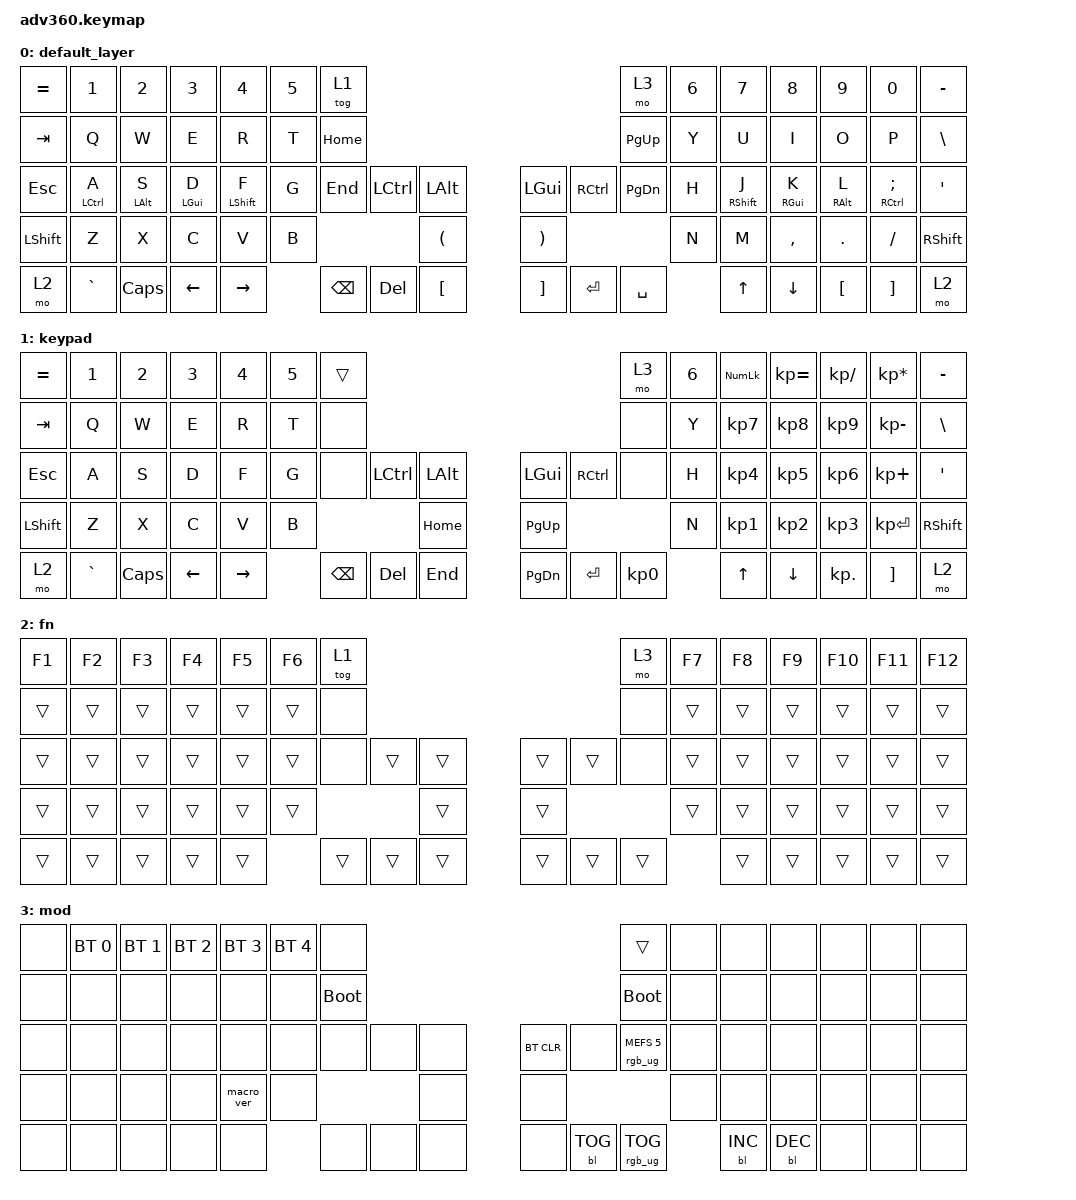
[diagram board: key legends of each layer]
#include <behaviors.dtsi>
#include <dt-bindings/zmk/backlight.h>
#include <dt-bindings/zmk/bt.h>
#include <dt-bindings/zmk/keys.h>
#include <dt-bindings/zmk/rgb.h>

/ {
    behaviors {
        #include "macros.dtsi"
      #include "version.dtsi"
      #ifndef VERSION_MACRO

        macro_ver: macro_ver {
            compatible = "zmk,behavior-macro";
            label = "macro_version";
            #binding-cells = <0>;
            bindings = <&kp RET>;
        };

        #endif

        hm: homerow_mods {
            compatible = "zmk,behavior-hold-tap";
            label = "HOMEROW_MODS";
            #binding-cells = <2>;
            tapping-term-ms = <220>;
            quick_tap_ms = <100>;
            flavor = "tap-preferred";
            require-prior-idle-ms = <125>;
            bindings = <&kp>, <&kp>;
        };

        hml: hml {
            compatible = "zmk,behavior-hold-tap";
            label = "HML";
            bindings = <&kp>, <&kp>;

            #binding-cells = <2>;
            hold-trigger-key-positions = <29 30 31 32>;
            tapping-term-ms = <250>;
            quick-tap-ms = <150>;
            require-prior-idle-ms = <150>;
            flavor = "tap-preferred";
            hold-trigger-on-release;
        };

        hmr: hmr {
            compatible = "zmk,behavior-hold-tap";
            label = "HMR";
            bindings = <&kp>, <&kp>;

            #binding-cells = <2>;
            tapping-term-ms = <250>;
            quick-tap-ms = <150>;
            require-prior-idle-ms = <150>;
            flavor = "tap-preferred";
            hold-trigger-on-release;
            hold-trigger-key-positions = <44 43 41 42>;
        };
    };

    macros {
    };

    keymap {
        compatible = "zmk,keymap";

        default_layer {
            bindings = <
&kp EQUAL  &kp N1       &kp N2      &kp N3      &kp N4       &kp N5  &tog 1                                                                           &mo 3          &kp N6  &kp N7       &kp N8      &kp N9      &kp N0          &kp MINUS
&kp TAB    &kp Q        &kp W       &kp E       &kp R        &kp T   &kp HOME                                                                         &kp PAGE_UP    &kp Y   &kp U        &kp I       &kp O       &kp P           &kp BSLH
&kp ESC    &hm LCTRL A  &hm LALT S  &hm LGUI D  &hm LSHFT F  &kp G   &kp END   &kp LCTRL  &kp LALT                  &kp LGUI               &kp RCTRL  &kp PAGE_DOWN  &kp H   &hm RSHFT J  &hm RGUI K  &hm RALT L  &hm RCTRL SEMI  &kp SQT
&kp LSHFT  &kp Z        &kp X       &kp C       &kp V        &kp B                        &kp LEFT_PARENTHESIS      &kp RIGHT_PARENTHESIS                            &kp N   &kp M        &kp COMMA   &kp DOT     &kp FSLH        &kp RSHFT
&mo 2      &kp GRAVE    &kp CAPS    &kp LEFT    &kp RIGHT            &kp BSPC  &kp DEL    &kp LEFT_BRACKET          &kp RIGHT_BRACKET      &kp ENTER  &kp SPACE              &kp UP       &kp DOWN    &kp LBKT    &kp RBKT        &mo 2
            >;
        };

        keypad {
            bindings = <
&kp EQUAL  &kp N1     &kp N2    &kp N3    &kp N4     &kp N5  &trans                                                   &mo 3      &kp N6  &kp KP_NUM  &kp KP_EQUAL  &kp KP_DIVIDE  &kp KP_MULTIPLY  &kp MINUS
&kp TAB    &kp Q      &kp W     &kp E     &kp R      &kp T   &none                                                    &none      &kp Y   &kp KP_N7   &kp KP_N8     &kp KP_N9      &kp KP_MINUS     &kp BSLH
&kp ESC    &kp A      &kp S     &kp D     &kp F      &kp G   &none     &kp LCTRL  &kp LALT      &kp LGUI   &kp RCTRL  &none      &kp H   &kp KP_N4   &kp KP_N5     &kp KP_N6      &kp KP_PLUS      &kp SQT
&kp LSHFT  &kp Z      &kp X     &kp C     &kp V      &kp B                        &kp HOME      &kp PG_UP                        &kp N   &kp KP_N1   &kp KP_N2     &kp KP_N3      &kp KP_ENTER     &kp RSHFT
&mo 2      &kp GRAVE  &kp CAPS  &kp LEFT  &kp RIGHT          &kp BSPC  &kp DEL    &kp END       &kp PG_DN  &kp ENTER  &kp KP_N0          &kp UP      &kp DOWN      &kp KP_DOT     &kp RBKT         &mo 2
            >;
        };

        fn {
            bindings = <
&kp F1  &kp F2  &kp F3  &kp F4  &kp F5  &kp F6  &tog 1                                      &mo 3   &kp F7  &kp F8  &kp F9  &kp F10  &kp F11  &kp F12
&trans  &trans  &trans  &trans  &trans  &trans  &none                                       &none   &trans  &trans  &trans  &trans   &trans   &trans
&trans  &trans  &trans  &trans  &trans  &trans  &none   &trans  &trans      &trans  &trans  &none   &trans  &trans  &trans  &trans   &trans   &trans
&trans  &trans  &trans  &trans  &trans  &trans                  &trans      &trans                  &trans  &trans  &trans  &trans   &trans   &trans
&trans  &trans  &trans  &trans  &trans          &trans  &trans  &trans      &trans  &trans  &trans          &trans  &trans  &trans   &trans   &trans
            >;
        };

        mod {
            bindings = <
&none  &bt BT_SEL 0  &bt BT_SEL 1  &bt BT_SEL 2  &bt BT_SEL 3  &bt BT_SEL 4  &none                                                  &trans                  &none  &none       &none       &none  &none  &none
&none  &none         &none         &none         &none         &none         &bootloader                                            &bootloader             &none  &none       &none       &none  &none  &none
&none  &none         &none         &none         &none         &none         &none        &none  &none      &bt BT_CLR  &none       &rgb_ug RGB_MEFS_CMD 5  &none  &none       &none       &none  &none  &none
&none  &none         &none         &none         &macro_ver    &none                             &none      &none                                           &none  &none       &none       &none  &none  &none
&none  &none         &none         &none         &none                       &none        &none  &none      &none       &bl BL_TOG  &rgb_ug RGB_TOG                &bl BL_INC  &bl BL_DEC  &none  &none  &none
            >;
        };
    };
};
